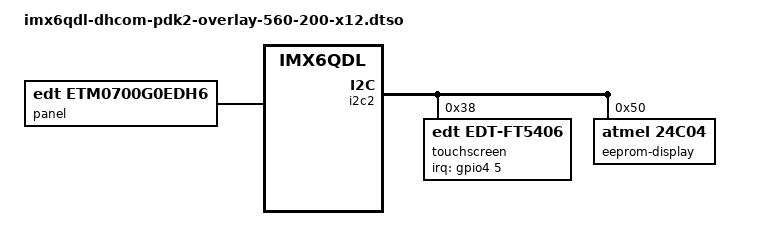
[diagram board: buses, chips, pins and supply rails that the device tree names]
// SPDX-License-Identifier: (GPL-2.0+ OR BSD-3-Clause)
/*
 * Copyright (C) 2021 Marek Vasut <marex@denx.de>
 * Copyright (C) 2022 DH electronics GmbH
 */
/dts-v1/;
/plugin/;

#include "imx6qdl-dhcom-overlay-panel-dpi.dtsi"

&display_bl {
	enable-gpios = <&gpio3 27 GPIO_ACTIVE_HIGH>; /* GPIO G */
	pwms = <&pwm1 0 50000 PWM_POLARITY_INVERTED>;
};

&leds {
	/*
	 * Disable led-5, because GPIO E
	 * is used as touch interrupt.
	 */
	led-5 {
		status = "disabled";
	};
};

&panel {
	compatible = "edt,etm0700g0edh6";
};

&i2c2 {
	#address-cells = <1>;
	#size-cells = <0>;

	touchscreen@38 {
		compatible = "edt,edt-ft5406";
		reg = <0x38>;
		interrupt-parent = <&gpio4>;
		interrupts = <5 IRQ_TYPE_EDGE_FALLING>; /* GPIO E */
		pinctrl-0 = <&pinctrl_dhcom_e>;
		pinctrl-names = "default";
	};

	eeprom@50 {
		compatible = "atmel,24c04";
		reg = <0x50>;
		label = "eeprom-display";
		pagesize = <16>;
	};
};
